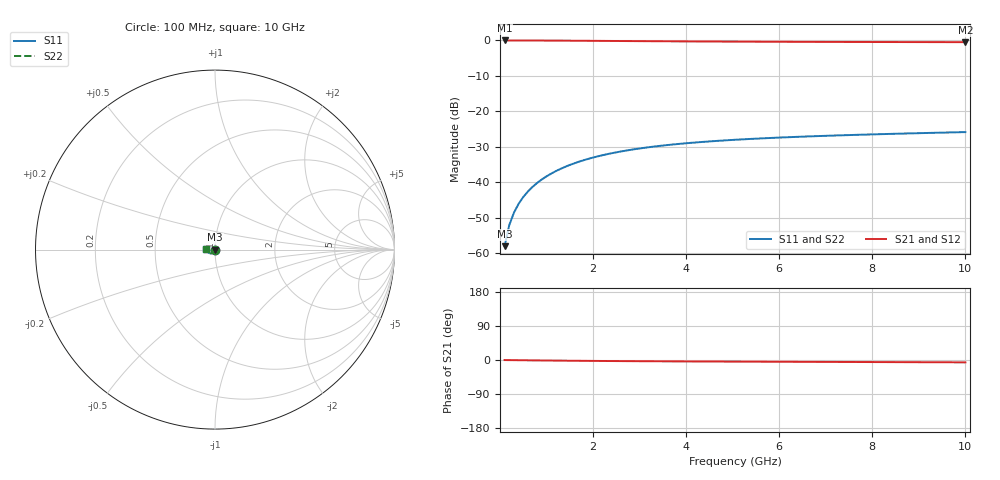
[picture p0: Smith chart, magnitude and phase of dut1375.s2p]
! Touchstone file exported from HFSS 2024.1.0
!  File:  C:/UserFiles/LocalFiles/RDL_TSV_Batchsim/temp_TSV1_1375_1780379639.aedt
!  Generated:  02:01:24 PM Jun  2, 2026
!  Design:  TSV1
!  Project:  temp_TSV1_1375_1780379639
!  Setup:  Setup1
!  Solution:  Sweep
! Variables:
!  dtsv = 8.58um
!  hbump = 3um
!  htsv = 98.91um
!  lrdl = 252.1521522um
!  p = 40
!  p1 = 47.72um
!  t = 500um
!  trdl = 3um
!  wrdl = 24.89489489um
# GHz S MA R 50.000000
! Terminal data exported
! Port[1] = TSV22_T1
! Port[2] = TSV22_T2
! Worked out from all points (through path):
!   100 points, 100 MHz to 10 GHz, reference 50 ohm
!   highest |S21| = 0.00 dB at 100 MHz (marker M1); lowest = -0.5 dB at 10 GHz (marker M2)
!   lowest |S11| = -58.0 dB at 100 MHz (marker M3), VSWR 1.00, Z = 50 - j0.125 ohm
!   |S11| at or under -10 dB: start of sweep to end of sweep
!   |S22| runs from -58.0 to -25.8 dB; largest |S21 - S12| = 5e-15
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0.1  0.001261 -81.4  0.9997 -0.1  0.9997 -0.1  0.001261 -81.4
! Gamma 0 0 0 0
! Port Impedance 50 0 50 0
0.2  0.002497 -88.1  0.9996 -0.3  0.9996 -0.3  0.002497 -88.1
0.3  0.003739 -91.6  0.9994 -0.4  0.9994 -0.4  0.003739 -91.6
0.4  0.004979 -94.2  0.9991 -0.6  0.9991 -0.6  0.004979 -94.2
0.5  0.00621 -96.5  0.9988 -0.7  0.9988 -0.7  0.00621 -96.5
0.6  0.00743 -98.6  0.9983 -0.8  0.9983 -0.8  0.00743 -98.6
0.7  0.008636 -100.6  0.9978 -0.9  0.9978 -0.9  0.008636 -100.6
0.8  0.009826 -102.5  0.9973 -1.1  0.9973 -1.1  0.009826 -102.5
0.9  0.011 -104.4  0.9967 -1.2  0.9967 -1.2  0.011 -104.4
1.1  0.01328 -108.0  0.9953 -1.4  0.9953 -1.4  0.01328 -108.0
1.4  0.01654 -113.1  0.9929 -1.8  0.9929 -1.8  0.01654 -113.1
1.6  0.01859 -116.4  0.9912 -2.0  0.9912 -2.0  0.01859 -116.4
1.8  0.02053 -119.5  0.9894 -2.2  0.9894 -2.2  0.02053 -119.5
2.1  0.02325 -124.0  0.9865 -2.5  0.9865 -2.5  0.02325 -124.0
2.5  0.02651 -129.6  0.9826 -2.8  0.9826 -2.8  0.02651 -129.6
2.9  0.02938 -134.8  0.9788 -3.1  0.9788 -3.1  0.02938 -134.8
3.4  0.03247 -140.7  0.9744 -3.4  0.9744 -3.4  0.03247 -140.7
4.2  0.03649 -149.0  0.9681 -3.9  0.9681 -3.9  0.03649 -149.0
5.1  0.03999 -157.0  0.9624 -4.3  0.9624 -4.3  0.03999 -157.0
6.7  0.04458 -168.7  0.9549 -4.9  0.9549 -4.9  0.04458 -168.7
8.4  0.04823 -178.7  0.9497 -5.6  0.9497 -5.6  0.04823 -178.7
10  0.05111 173.3  0.9462 -6.2  0.9462 -6.2  0.05111 173.3
